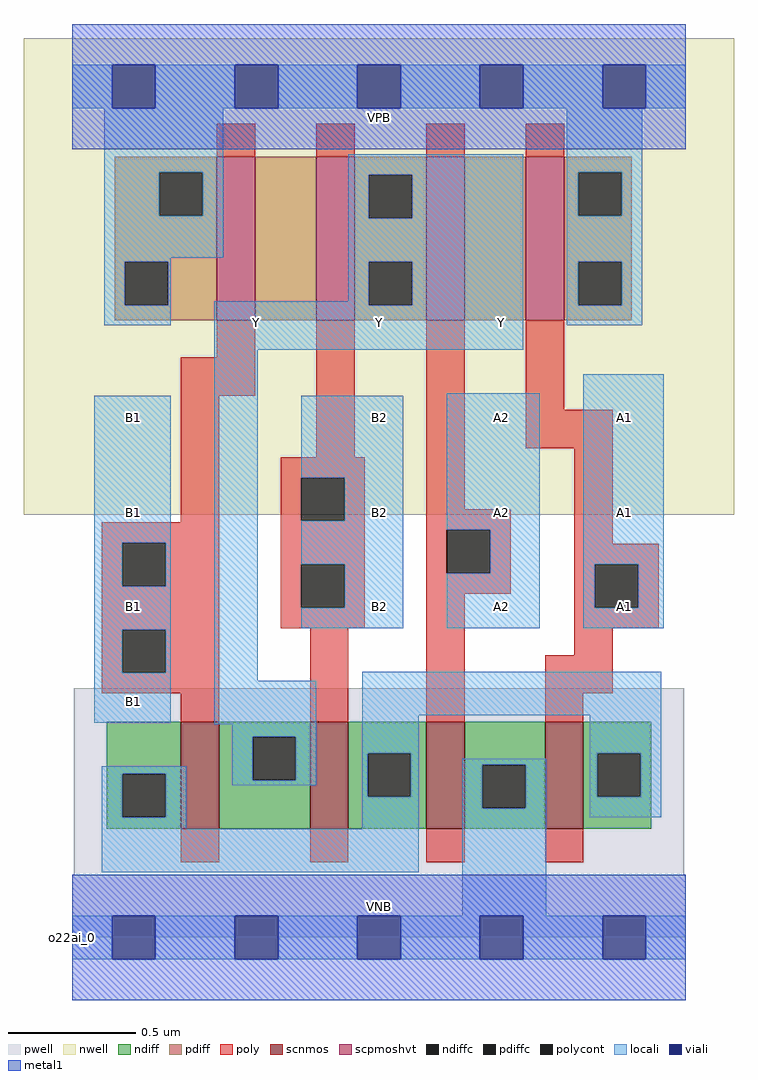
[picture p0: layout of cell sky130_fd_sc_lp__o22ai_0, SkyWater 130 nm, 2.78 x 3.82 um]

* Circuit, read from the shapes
.subckt sky130_fd_sc_lp__o22ai_0 A1 A2 B1 B2 VGND VNB VPB VPWR Y
XM1 Y B1 n1 VNB sky130_fd_pr__nfet_01v8 w=0.42 l=0.15
XM2 n1 B2 Y VNB sky130_fd_pr__nfet_01v8 w=0.42 l=0.15
XM3 VGND A2 n1 VNB sky130_fd_pr__nfet_01v8 w=0.42 l=0.15
XM4 n1 A1 VGND VNB sky130_fd_pr__nfet_01v8 w=0.42 l=0.15
XM5 n2 B1 VPWR VPB sky130_fd_pr__pfet_01v8_hvt w=0.64 l=0.15
XM6 Y B2 n2 VPB sky130_fd_pr__pfet_01v8_hvt w=0.64 l=0.15
XM7 n3 A2 Y VPB sky130_fd_pr__pfet_01v8_hvt w=0.64 l=0.15
XM8 VPWR A1 n3 VPB sky130_fd_pr__pfet_01v8_hvt w=0.64 l=0.15
.ends

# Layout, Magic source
magic
tech sky130A
magscale 1 2
<< nwell >>
rect -38 331 518 704
<< pwell >>
rect 1 49 479 195
rect 0 0 480 49
<< scnmos >>
rect 85 85 115 169
rect 186 85 216 169
rect 277 85 307 169
rect 370 85 400 169
<< scpmoshvt >>
rect 113 483 143 611
rect 191 483 221 611
rect 277 483 307 611
rect 355 483 385 611
<< ndiff >>
rect 27 128 85 169
rect 27 94 39 128
rect 73 94 85 128
rect 27 85 85 94
rect 115 157 186 169
rect 115 123 141 157
rect 175 123 186 157
rect 115 85 186 123
rect 216 144 277 169
rect 216 110 231 144
rect 265 110 277 144
rect 216 85 277 110
rect 307 135 370 169
rect 307 101 321 135
rect 355 101 370 135
rect 307 85 370 101
rect 400 144 453 169
rect 400 110 411 144
rect 445 110 453 144
rect 400 85 453 110
<< pdiff >>
rect 33 599 113 611
rect 33 565 68 599
rect 102 565 113 599
rect 33 529 113 565
rect 33 495 41 529
rect 75 495 113 529
rect 33 483 113 495
rect 143 483 191 611
rect 221 597 277 611
rect 221 563 232 597
rect 266 563 277 597
rect 221 529 277 563
rect 221 495 232 529
rect 266 495 277 529
rect 221 483 277 495
rect 307 483 355 611
rect 385 599 438 611
rect 385 565 396 599
rect 430 565 438 599
rect 385 529 438 565
rect 385 495 396 529
rect 430 495 438 529
rect 385 483 438 495
<< ndiffc >>
rect 39 94 73 128
rect 141 123 175 157
rect 231 110 265 144
rect 321 101 355 135
rect 411 110 445 144
<< pdiffc >>
rect 68 565 102 599
rect 41 495 75 529
rect 232 563 266 597
rect 232 495 266 529
rect 396 565 430 599
rect 396 495 430 529
<< poly >>
rect 113 611 143 637
rect 191 611 221 637
rect 277 611 307 637
rect 355 611 385 637
rect 113 454 143 483
rect 85 424 143 454
rect 85 325 115 424
rect 191 376 221 483
rect 23 309 115 325
rect 23 275 39 309
rect 73 275 115 309
rect 23 241 115 275
rect 163 360 229 376
rect 163 326 179 360
rect 213 326 229 360
rect 163 292 229 326
rect 163 258 179 292
rect 213 258 229 292
rect 163 242 229 258
rect 277 335 307 483
rect 355 413 385 483
rect 355 383 423 413
rect 277 319 343 335
rect 277 285 293 319
rect 327 285 343 319
rect 277 269 343 285
rect 393 308 423 383
rect 393 292 459 308
rect 23 207 39 241
rect 73 207 115 241
rect 23 191 115 207
rect 85 169 115 191
rect 186 169 216 242
rect 277 169 307 269
rect 393 258 409 292
rect 443 258 459 292
rect 393 242 459 258
rect 393 221 423 242
rect 370 191 423 221
rect 370 169 400 191
rect 85 59 115 85
rect 186 59 216 85
rect 277 59 307 85
rect 370 59 400 85
<< polycont >>
rect 39 275 73 309
rect 179 326 213 360
rect 179 258 213 292
rect 293 285 327 319
rect 39 207 73 241
rect 409 258 443 292
<< locali >>
rect 0 649 31 683
rect 65 649 127 683
rect 161 649 223 683
rect 257 649 319 683
rect 353 649 415 683
rect 449 649 480 683
rect 25 599 118 649
rect 25 565 68 599
rect 102 565 118 599
rect 25 532 118 565
rect 216 597 353 613
rect 216 563 232 597
rect 266 563 353 597
rect 25 529 77 532
rect 25 495 41 529
rect 75 495 77 529
rect 216 529 353 563
rect 216 498 232 529
rect 25 479 77 495
rect 111 495 232 498
rect 266 495 353 529
rect 111 460 353 495
rect 387 599 446 649
rect 387 565 396 599
rect 430 565 446 599
rect 387 529 446 565
rect 387 495 396 529
rect 430 495 446 529
rect 387 479 446 495
rect 17 309 77 424
rect 17 275 39 309
rect 73 275 77 309
rect 17 241 77 275
rect 17 207 39 241
rect 73 207 77 241
rect 17 168 77 207
rect 111 201 145 460
rect 179 360 259 424
rect 213 326 259 360
rect 179 292 259 326
rect 213 258 259 292
rect 179 242 259 258
rect 293 319 366 426
rect 327 285 366 319
rect 293 242 366 285
rect 400 292 463 441
rect 400 258 409 292
rect 443 258 463 292
rect 400 242 463 258
rect 111 167 191 201
rect 125 157 191 167
rect 23 128 89 134
rect 23 94 39 128
rect 73 94 89 128
rect 125 123 141 157
rect 175 123 191 157
rect 125 119 191 123
rect 227 174 461 208
rect 227 144 271 174
rect 23 85 89 94
rect 227 110 231 144
rect 265 110 271 144
rect 405 144 461 174
rect 227 85 271 110
rect 23 51 271 85
rect 305 135 371 140
rect 305 101 321 135
rect 355 101 371 135
rect 305 17 371 101
rect 405 110 411 144
rect 445 110 461 144
rect 405 94 461 110
rect 0 -17 31 17
rect 65 -17 127 17
rect 161 -17 223 17
rect 257 -17 319 17
rect 353 -17 415 17
rect 449 -17 480 17
<< viali >>
rect 31 649 65 683
rect 127 649 161 683
rect 223 649 257 683
rect 319 649 353 683
rect 415 649 449 683
rect 31 -17 65 17
rect 127 -17 161 17
rect 223 -17 257 17
rect 319 -17 353 17
rect 415 -17 449 17
<< metal1 >>
rect 0 683 480 715
rect 0 649 31 683
rect 65 649 127 683
rect 161 649 223 683
rect 257 649 319 683
rect 353 649 415 683
rect 449 649 480 683
rect 0 617 480 649
rect 0 17 480 49
rect 0 -17 31 17
rect 65 -17 127 17
rect 161 -17 223 17
rect 257 -17 319 17
rect 353 -17 415 17
rect 449 -17 480 17
rect 0 -49 480 -17
<< labels >>
flabel pwell s 0 0 480 49 0 FreeSans 200 0 0 0 VNB
port 6 nsew ground bidirectional
flabel nwell s 0 617 480 666 0 FreeSans 200 0 0 0 VPB
port 7 nsew power bidirectional
rlabel comment s 0 0 0 0 4 o22ai_0
flabel metal1 s 0 617 480 666 0 FreeSans 340 0 0 0 VPWR
port 8 nsew power bidirectional
flabel metal1 s 0 0 480 49 0 FreeSans 340 0 0 0 VGND
port 5 nsew ground bidirectional
flabel locali s 415 242 449 276 0 FreeSans 340 0 0 0 A1
port 1 nsew signal input
flabel locali s 415 316 449 350 0 FreeSans 340 0 0 0 A1
port 1 nsew signal input
flabel locali s 415 390 449 424 0 FreeSans 340 0 0 0 A1
port 1 nsew signal input
flabel locali s 319 242 353 276 0 FreeSans 340 0 0 0 A2
port 2 nsew signal input
flabel locali s 319 316 353 350 0 FreeSans 340 0 0 0 A2
port 2 nsew signal input
flabel locali s 319 390 353 424 0 FreeSans 340 0 0 0 A2
port 2 nsew signal input
flabel locali s 127 464 161 498 0 FreeSans 340 0 0 0 Y
port 9 nsew signal output
flabel locali s 223 464 257 498 0 FreeSans 340 0 0 0 Y
port 9 nsew signal output
flabel locali s 319 464 353 498 0 FreeSans 340 0 0 0 Y
port 9 nsew signal output
flabel locali s 31 168 65 202 0 FreeSans 340 0 0 0 B1
port 3 nsew signal input
flabel locali s 31 242 65 276 0 FreeSans 340 0 0 0 B1
port 3 nsew signal input
flabel locali s 31 316 65 350 0 FreeSans 340 0 0 0 B1
port 3 nsew signal input
flabel locali s 31 390 65 424 0 FreeSans 340 0 0 0 B1
port 3 nsew signal input
flabel locali s 223 242 257 276 0 FreeSans 340 0 0 0 B2
port 4 nsew signal input
flabel locali s 223 316 257 350 0 FreeSans 340 0 0 0 B2
port 4 nsew signal input
flabel locali s 223 390 257 424 0 FreeSans 340 0 0 0 B2
port 4 nsew signal input
<< properties >>
string LEFsite unit
string LEFclass CORE
string FIXED_BBOX 0 0 480 666
string GDS_FILE $PDKPATH/libs.ref/sky130_fd_sc_lp/gds/sky130_fd_sc_lp.gds
string LEFsymmetry X Y R90
string GDS_END 1332156
string GDS_START 1325726
<< end >>
